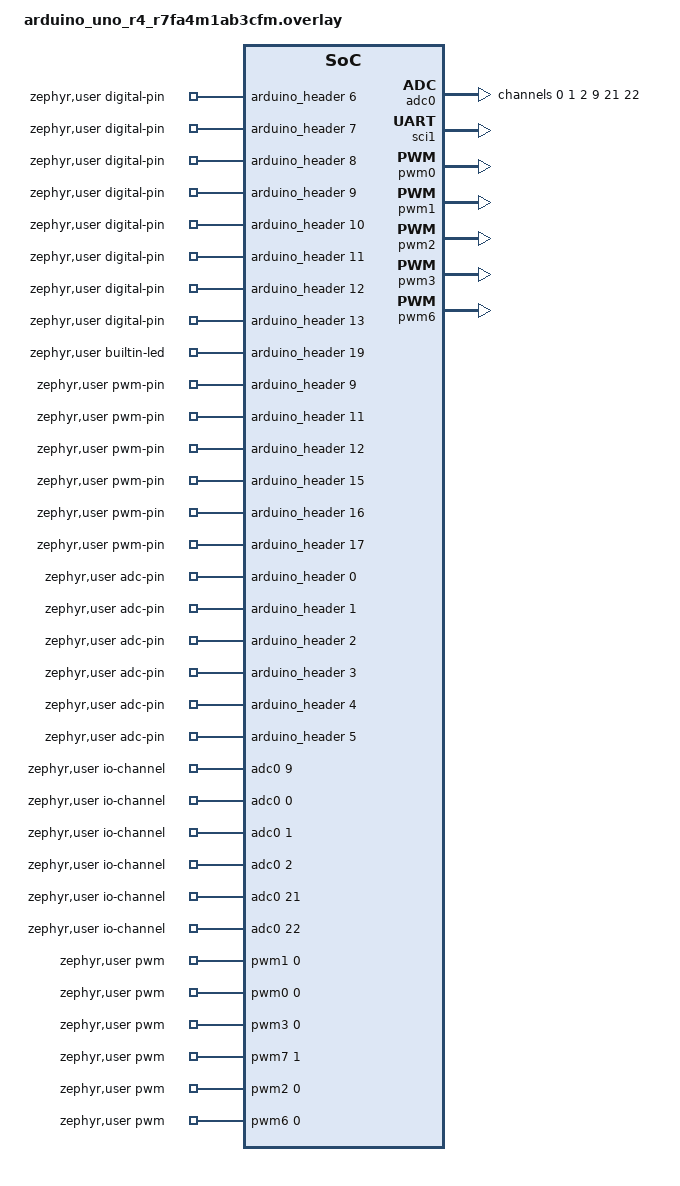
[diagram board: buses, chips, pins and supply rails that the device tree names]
/*
 * Copyright (c) Arduino s.r.l. and/or its affiliated companies
 *
 * SPDX-License-Identifier: Apache-2.0
 */

#include <zephyr/dt-bindings/pwm/ra_pwm.h>

/ {
        chosen {
                zephyr,code-partition = &code_partition;
        };

        zephyr,user {
                /* Arduino R3 header index: A0-A5 = 0-5, D0-D15 = 6-21 */
                digital-pin-gpios = <&arduino_header 6 0>,  /* D0 */
                                    <&arduino_header 7 0>,
                                    <&arduino_header 8 0>,
                                    <&arduino_header 9 0>,
                                    <&arduino_header 10 0>,
                                    <&arduino_header 11 0>,
                                    <&arduino_header 12 0>,
                                    <&arduino_header 13 0>,
                                    <&arduino_header 14 0>,
                                    <&arduino_header 15 0>,
                                    <&arduino_header 16 0>,
                                    <&arduino_header 17 0>,
                                    <&arduino_header 18 0>,
                                    <&arduino_header 19 0>, /* D13 / LED */
                                    <&arduino_header 0 0>,  /* A0 */
                                    <&arduino_header 1 0>,
                                    <&arduino_header 2 0>,
                                    <&arduino_header 3 0>,
                                    <&arduino_header 4 0>,
                                    <&arduino_header 5 0>;

                builtin-led-gpios = <&arduino_header 19 0>;

                /* Hardware PWM: D3 D5 D6 D9 D10 D11, 490 Hz */
                pwm-pin-gpios = <&arduino_header 9 0>,
                                <&arduino_header 11 0>,
                                <&arduino_header 12 0>,
                                <&arduino_header 15 0>,
                                <&arduino_header 16 0>,
                                <&arduino_header 17 0>;

                pwms = <&pwm1 0 PWM_HZ(490) PWM_POLARITY_NORMAL>,
                       <&pwm0 0 PWM_HZ(490) PWM_POLARITY_NORMAL>,
                       <&pwm3 0 PWM_HZ(490) PWM_POLARITY_NORMAL>,
                       <&pwm7 1 PWM_HZ(490) PWM_POLARITY_NORMAL>,
                       <&pwm2 0 PWM_HZ(490) PWM_POLARITY_NORMAL>,
                       <&pwm6 0 PWM_HZ(490) PWM_POLARITY_NORMAL>;

                adc-pin-gpios = <&arduino_header 0 0>,
                                <&arduino_header 1 0>,
                                <&arduino_header 2 0>,
                                <&arduino_header 3 0>,
                                <&arduino_header 4 0>,
                                <&arduino_header 5 0>;

                io-channels = <&adc0 9>,
                              <&adc0 0>,
                              <&adc0 1>,
                              <&adc0 2>,
                              <&adc0 21>,
                              <&adc0 22>;

                /* No native USB: 'Serial' is the USB-C bridge (SCI9), 'Serial1' is D0/D1, 'Serial2' is the ESP32-S3 */
                serials = <&uart9>, <&uart2>, <&uart1>;
                i2cs = <&iic1>, <&iic0>;
                spis = <&spi0>;
        };
};

&pinctrl {
        adc0_default: adc0_default {
                group1 {
                        /* A0-A5 */
                        psels = <RA_PSEL(RA_PSEL_ADC, 0, 14)>,
                                <RA_PSEL(RA_PSEL_ADC, 0, 0)>,
                                <RA_PSEL(RA_PSEL_ADC, 0, 1)>,
                                <RA_PSEL(RA_PSEL_ADC, 0, 2)>,
                                <RA_PSEL(RA_PSEL_ADC, 1, 1)>,
                                <RA_PSEL(RA_PSEL_ADC, 1, 0)>;
                        renesas,analog-enable;
                };
        };

        sci1_default: sci1_default {
                group1 {
                        /* TXD1 */
                        psels = <RA_PSEL(RA_PSEL_SCI_1, 5, 1)>;
                        drive-strength = "medium";
                };

                group2 {
                        /* RXD1 */
                        psels = <RA_PSEL(RA_PSEL_SCI_1, 5, 2)>;
                };
        };

        pwm0_default: pwm0_default {
                group1 {
                        psels = <RA_PSEL(RA_PSEL_GPT1, 1, 7)>;
                };
        };

        pwm1_default: pwm1_default {
                group1 {
                        psels = <RA_PSEL(RA_PSEL_GPT1, 1, 5)>;
                };
        };

        pwm2_default: pwm2_default {
                group1 {
                        psels = <RA_PSEL(RA_PSEL_GPT1, 1, 3)>;
                };
        };

        pwm3_default: pwm3_default {
                group1 {
                        psels = <RA_PSEL(RA_PSEL_GPT1, 1, 11)>;
                };
        };

        pwm6_default: pwm6_default {
                group1 {
                        psels = <RA_PSEL(RA_PSEL_GPT1, 4, 11)>;
                };
        };
};

/* Keep the ICU slots free for the other peripherals */
&port_irq0 {
        status = "disabled";
};

&port_irq1 {
        status = "disabled";
};

&adc0 {
        #address-cells = <1>;
        #size-cells = <0>;

        channel@0 {
                reg = <0>;
                zephyr,gain = "ADC_GAIN_1";
                zephyr,reference = "ADC_REF_INTERNAL";
                zephyr,acquisition-time = <ADC_ACQ_TIME_DEFAULT>;
                zephyr,resolution = <12>;
        };

        channel@1 {
                reg = <1>;
                zephyr,gain = "ADC_GAIN_1";
                zephyr,reference = "ADC_REF_INTERNAL";
                zephyr,acquisition-time = <ADC_ACQ_TIME_DEFAULT>;
                zephyr,resolution = <12>;
        };

        channel@2 {
                reg = <2>;
                zephyr,gain = "ADC_GAIN_1";
                zephyr,reference = "ADC_REF_INTERNAL";
                zephyr,acquisition-time = <ADC_ACQ_TIME_DEFAULT>;
                zephyr,resolution = <12>;
        };

        channel@9 {
                reg = <9>;
                zephyr,gain = "ADC_GAIN_1";
                zephyr,reference = "ADC_REF_INTERNAL";
                zephyr,acquisition-time = <ADC_ACQ_TIME_DEFAULT>;
                zephyr,resolution = <12>;
        };

        channel@15 {
                reg = <21>;
                zephyr,gain = "ADC_GAIN_1";
                zephyr,reference = "ADC_REF_INTERNAL";
                zephyr,acquisition-time = <ADC_ACQ_TIME_DEFAULT>;
                zephyr,resolution = <12>;
        };

        channel@16 {
                reg = <22>;
                zephyr,gain = "ADC_GAIN_1";
                zephyr,reference = "ADC_REF_INTERNAL";
                zephyr,acquisition-time = <ADC_ACQ_TIME_DEFAULT>;
                zephyr,resolution = <12>;
        };
};

/* On-board ESP32-S3 UART (Wi-Fi modem), 'Serial2' */
&sci1 {
        pinctrl-0 = <&sci1_default>;
        pinctrl-names = "default";
        interrupts = <4 1>, <5 1>, <6 1>, <7 1>;
        interrupt-names = "rxi", "txi", "tei", "eri";
        status = "okay";

        uart1: uart {
                zephyr,deferred-init;
                pinctrl-0 = <&sci1_default>;
                pinctrl-names = "default";
                current-speed = <115200>;
                status = "okay";
        };
};

/* Initialized by Serial1.begin(), its ICU slots are taken from the pool until Serial1.end() */
&uart2 {
        zephyr,deferred-init;
        pinctrl-0 = <&sci2_default>;
        pinctrl-names = "default";
};

/*
 * Without PWM events or capture the GPT timers never raise interrupts, but the FSP still
 * registers their (unlinked) IRQ numbers, so they must not overlap a real peripheral's:
 * all the timers share the otherwise unused slots 23 and 24.
 */
&pwm0 {
        pinctrl-0 = <&pwm0_default>;
        pinctrl-names = "default";
        interrupts = <23 1>, <24 1>;
        interrupt-names = "gtioca", "overflow";
        status = "okay";
};

&pwm1 {
        pinctrl-0 = <&pwm1_default>;
        pinctrl-names = "default";
        interrupts = <23 1>, <24 1>;
        interrupt-names = "gtioca", "overflow";
        status = "okay";
};

/* GPT2-GPT7 are 16-bit timers: the 490 Hz period needs a slower clock */
&pwm2 {
        divider = <RA_PWM_SOURCE_DIV_4>;
        pinctrl-0 = <&pwm2_default>;
        pinctrl-names = "default";
        interrupts = <23 1>, <24 1>;
        interrupt-names = "gtioca", "overflow";
        status = "okay";
};

&pwm3 {
        divider = <RA_PWM_SOURCE_DIV_4>;
        pinctrl-0 = <&pwm3_default>;
        pinctrl-names = "default";
        interrupts = <23 1>, <24 1>;
        interrupt-names = "gtioca", "overflow";
        status = "okay";
};

&pwm6 {
        divider = <RA_PWM_SOURCE_DIV_4>;
        pinctrl-0 = <&pwm6_default>;
        pinctrl-names = "default";
        interrupts = <23 1>, <24 1>;
        interrupt-names = "gtioca", "overflow";
        status = "okay";
};

&pwm7 {
        divider = <RA_PWM_SOURCE_DIV_4>;
        interrupts = <23 1>, <24 1>;
};

&code_flash {
        partitions {
                compatible = "fixed-partitions";
        };
};

&code_partition {
        reg = <0x4000 0x1c000>;
};

&code_flash {
        partitions {
                user_sketch: partition@20000 {
                        compatible = "zephyr,mapped-partition";
                        label = "user";
                        reg = <0x20000 0x20000>;
                };
        };
};
